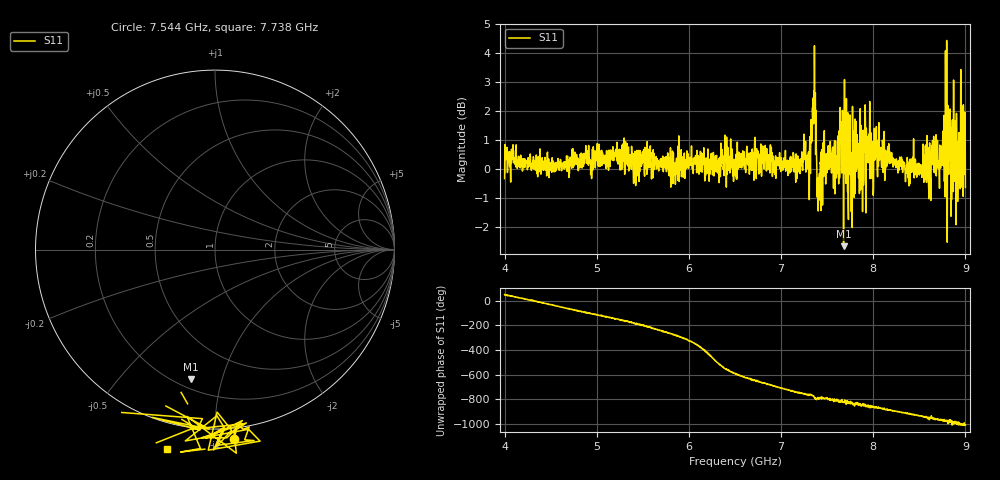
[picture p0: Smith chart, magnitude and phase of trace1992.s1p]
! Created with skrf 1.8.0 (http://scikit-rf.org).
# Hz S RI R 50.0
!freq ReS11 ImS11
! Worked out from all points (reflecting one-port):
!   1601 points, 4 GHz to 9 GHz, reference 50 ohm
!   lowest |S11| = -2.7 dB at 7.678 GHz (marker M1), VSWR 6.56, Z = 12.7 - j40 ohm
!   phase of S11 starts at 49 deg and turns -1056 deg over the sweep
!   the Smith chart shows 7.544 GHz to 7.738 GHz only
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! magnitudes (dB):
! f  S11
! 4 GHz  -0.3
! 4.1 GHz  0.3
! 4.625 GHz  0.1
! 5.25 GHz  0.1
! 5.875 GHz  0.2
! 6.409 GHz  1.1
! 6.5 GHz  -0.2
! 7.125 GHz  0.1
! 7.294 GHz  0.1
! 7.347 GHz  2.4
! 7.366 GHz  2.2
! 7.412 GHz  -1.1
! 7.481 GHz  0.3
! 7.591 GHz  1.0
! 7.666 GHz  2.0
! 7.678 GHz  -2.7
! 7.75 GHz  -0.2
! 7.775 GHz  2.2
! 7.8 GHz  -0.9
! 7.859 GHz  2.1
! 7.95 GHz  0.5
! 8.375 GHz  0.1
! 8.566 GHz  0.4
! 8.603 GHz  -0.7
! 8.775 GHz  1.1
! 8.869 GHz  -0.8
! 8.972 GHz  0.7
! 9 GHz  -0.6
